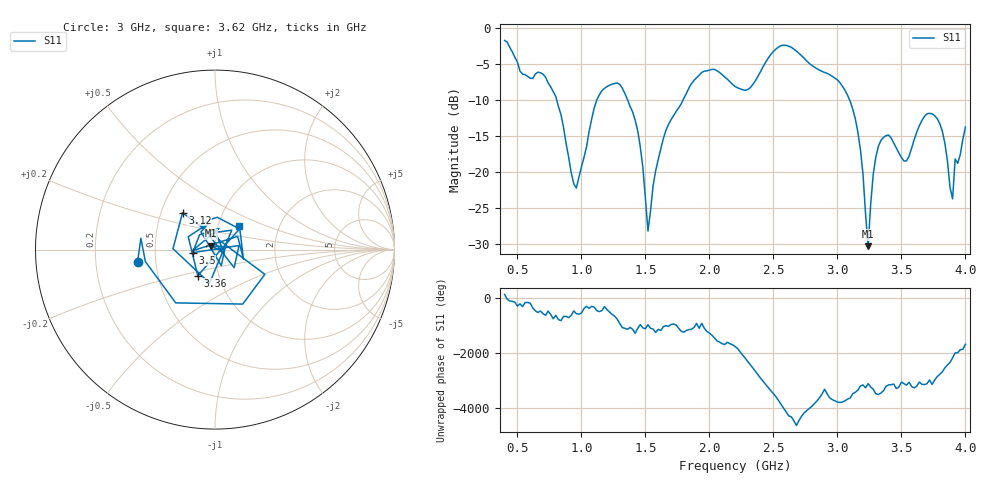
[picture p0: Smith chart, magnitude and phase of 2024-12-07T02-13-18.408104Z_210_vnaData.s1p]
!Created with skrf (http://scikit-rf.org).
# Hz S RI R 50.0
!freq ReS11 ImS11
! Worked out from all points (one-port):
!   181 points, 400 MHz to 4 GHz, reference 50 ohm
!   lowest |S11| = -30.3 dB at 3.24 GHz (marker M1), VSWR 1.06, Z = 47.9 + j2.07 ohm
!   |S11| at or under -10 dB: 807.2 MHz to 1.12 GHz (312.4 MHz wide, 32.4 % of centre); 1.361 GHz to 1.794 GHz (432.2 MHz wide, 27.4 % of centre); 3.096 GHz to end of sweep
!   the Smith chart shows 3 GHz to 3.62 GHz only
!   S11 on the Smith chart (normalised r, x): 3 GHz: 0.39, -0.07; 3.12 GHz: 0.64, +0.29; 3.36 GHz: 0.79, -0.24; 3.5 GHz: 0.78, -0.03; 3.62 GHz: 1.26, +0.34
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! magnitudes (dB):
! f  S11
! 400 MHz  -1.7
! 540 MHz  -6.4
! 720 MHz  -6.8
! 860 MHz  -13.8
! 960 MHz  -22.3
! 1.12 GHz  -10.0
! 1.3 GHz  -7.8
! 1.44 GHz  -14.3
! 1.52 GHz  -28.2
! 1.64 GHz  -15.4
! 1.76 GHz  -11.1
! 1.96 GHz  -6.0
! 2.2 GHz  -8.1
! 2.66 GHz  -2.9
! 3 GHz  -7.2
! 3.1 GHz  -10.2
! 3.12 GHz  -11.2
! 3.18 GHz  -16.9
! 3.24 GHz  -30.3
! 3.28 GHz  -20.3
! 3.36 GHz  -15.2
! 3.5 GHz  -18.0
! 3.56 GHz  -17.8
! 3.62 GHz  -14.5
! 3.78 GHz  -12.6
! 3.9 GHz  -23.7
! 3.92 GHz  -18.2
! 4 GHz  -13.7
